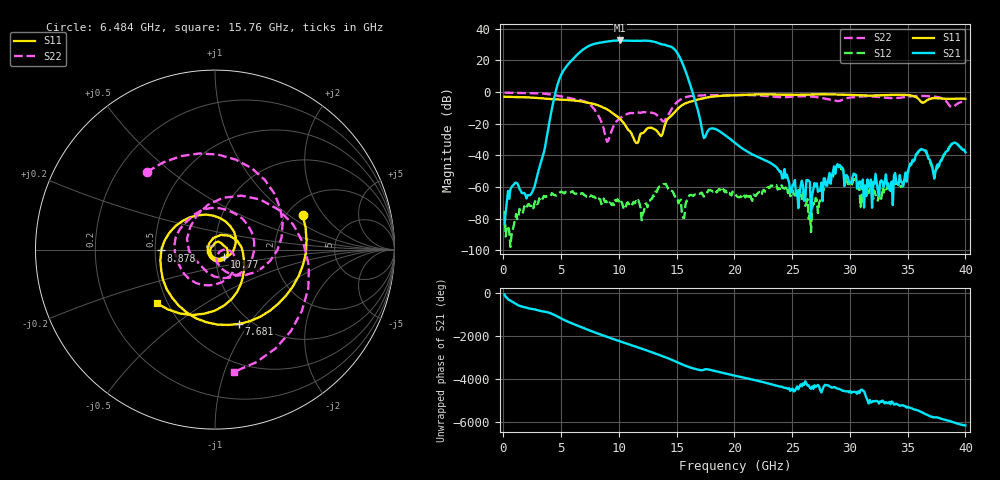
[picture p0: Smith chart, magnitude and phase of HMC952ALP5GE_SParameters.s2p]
! Analog Devices, Inc.
! Device:	HMC952ALP5GE
! Description:	8 GHz to 14 GHz, GaAs, pHEMT, MMIC, 2 WATT Power Amplifier
! Conditions:	Vdd1, Vdd2, Vdd3, Vdd4 = +6V, Idd = 1400 mA
!		Vgg = Adjust Vgg between -2 to 0V to achieve Idd = 1400 mA typical.
!		Idd = 1400 mA quiescent
!		Pin = -25 dBm
!		Temp = +25 C (baseplate temperature)
! Product validation unit (SN 4). as shown on data sheet's Assembly Diagram, calibration plane at sma connectors)
! Freq(GHz)	S11a(dB)	S11p(deg)	S21a(dB)	S21p(deg)	S12a(dB)	S12p(deg)	S22a(dB)	S22p(deg)
# GHz S DB R 50
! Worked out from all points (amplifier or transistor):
!   401 points, 100 MHz to 40 GHz, reference 50 ohm
!   highest |S21| = 32.7 dB at 10.07 GHz (marker M1)
!   |S21| within 3 dB of that: 7.544 GHz to 14.08 GHz (6.535 GHz wide, 60.4 % of centre)
!   unconditionally stable (mu >= 1): start of sweep to end of sweep
!   at 6.684 GHz: K = 21.81, MAG = 28.6 dB, |S12| = -64.3 dB
!   at 20.05 GHz: K = 3855.87, MAG = -23.0 dB, |S12| = -63.9 dB
!   at 40 GHz: K = 1433.32, MAG = -34.6 dB, |S12| = -37.9 dB
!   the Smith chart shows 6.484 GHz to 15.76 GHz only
!   S11 on the Smith chart (normalised r, x): 6.484 GHz: 2.42, +1.30; 7.681 GHz: 0.88, -0.90; 8.878 GHz: 0.54, -0.01; 10.77 GHz: 1.10, -0.10; 15.76 GHz: 0.44, -0.32
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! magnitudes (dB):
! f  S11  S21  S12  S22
! 100 MHz  -2.9  -83.1  -75.2  -0.4
! 898 MHz  -3.1  -58.5  -83.8  -0.4
! 2.494 GHz  -3.5  -63.1  -71.1  -0.7
! 4.788 GHz  -4.6  7.1  -63.8  -2.4
! 6.484 GHz  -5.6  24.3  -64.0  -4.8
! 6.783 GHz  -5.9  26.3  -63.9  -5.3
! 7.681 GHz  -7.2  30.0  -65.8  -9.2
! 8.878 GHz  -10.5  31.9  -68.7  -29.3
! 10.07 GHz  -16.7  32.7  -67.4  -16.6
! 10.77 GHz  -23.6  32.4  -69.6  -13.6
! 13.47 GHz  -26.4  30.8  -59.8  -15.7
! 15.76 GHz  -7.1  13.4  -71.1  -3.2
! 17.36 GHz  -3.8  -29.0  -66.0  -2.0
! 20.05 GHz  -1.9  -32.1  -63.9  -1.9
! 24.24 GHz  -1.6  -54.4  -60.7  -3.2
! 26.73 GHz  -1.5  -65.0  -73.3  -2.8
! 29.03 GHz  -1.5  -47.4  -48.7  -5.6
! 31.02 GHz  -2.1  -61.2  -64.8  -2.7
! 33.42 GHz  -1.8  -61.6  -59.1  -3.8
! 36.21 GHz  -6.4  -35.9  -35.6  -2.4
! 37.31 GHz  -3.8  -54.6  -50.4  -2.8
! 40 GHz  -4.2  -38.0  -37.9  -5.8
